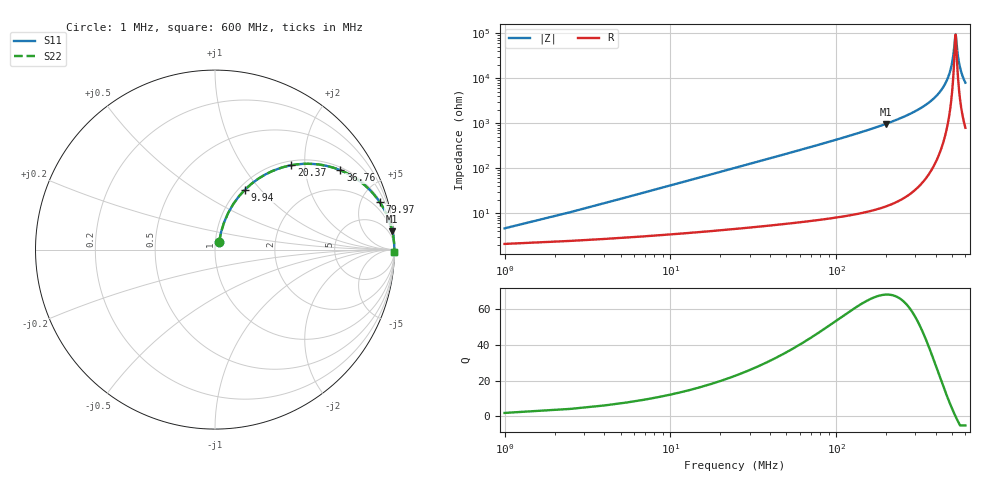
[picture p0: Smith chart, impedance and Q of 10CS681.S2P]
! Coilcraft 1008CS-681 Chip Inductor
! 02 July 2002
# MHZ S MA R 50
!Freq  MagS11  AngS11  MagS21  AngS21  MagS12  AngS12  MagS22  AngS22
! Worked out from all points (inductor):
!   404 points, 1 MHz to 600 MHz, reference 50 ohm
!   read as one part in series: L = 665 nH near 3.98 MHz
!   highest Q = 67.9 at 199.2 MHz (marker M1), where L = 778 nH
!   self-resonance near 522.5 MHz
!   S11 on the Smith chart (normalised r, x): 1 MHz: 1.04, +0.08; 9.94 MHz: 1.07, +0.83; 20.37 MHz: 1.09, +1.70; 36.76 MHz: 1.10, +3.09; 79.97 MHz: 1.14, +6.84; 600 MHz: open
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1  0.0458 60.9  0.9785 -2.3  0.9785 -2.3  0.0458 60.9
5.47  0.2186 70.2  0.9485 -12.5  0.9485 -12.5  0.2186 70.2
9.94  0.374 63.4  0.8972 -21.9  0.8972 -21.9  0.374 63.4
20.37  0.6337 47.9  0.7425 -39.3  0.7425 -39.3  0.6337 47.9
36.76  0.8267 32.3  0.5353 -55.7  0.5353 -55.7  0.8267 32.3
54.64  0.9089 23.2  0.3936 -65.3  0.3936 -65.3  0.9089 23.2
79.97  0.9544 16.2  0.2789 -72.6  0.2789 -72.6  0.9544 16.2
102.32  0.9718 12.6  0.2186 -76.3  0.2186 -76.3  0.9718 12.6
199.17  0.9933 5.9  0.1021 -83.3  0.1021 -83.3  0.9933 5.9
202.15  0.9935 5.7  0.1001 -83.4  0.1001 -83.4  0.9935 5.7
301.98  0.9976 3.0  0.05276 -85.9  0.05276 -85.9  0.9976 3.0
401.81  0.9988 1.4  0.02446 -86.5  0.02446 -86.5  0.9988 1.4
464.39  0.999 0.6  0.01102 -84.4  0.01102 -84.4  0.999 0.6
485.25  0.999 0.4  0.007013 -81.5  0.007013 -81.5  0.999 0.4
501.64  0.999 0.2  0.004035 -75.1  0.004035 -75.1  0.999 0.2
510.58  0.999 0.1  0.002514 -65.5  0.002514 -65.5  0.999 0.1
519.52  0.9989 0.0  0.001269 -33.7  0.001269 -33.7  0.9989 0.0
523.99  0.9989 -0.0  0.001068 4.1  0.001068 4.1  0.9989 -0.0
540.38  0.9989 -0.2  0.003092 69.0  0.003092 69.0  0.9989 -0.2
552.3  0.9989 -0.3  0.005012 76.7  0.005012 76.7  0.9989 -0.3
573.16  0.9988 -0.5  0.008359 81.4  0.008359 81.4  0.9988 -0.5
600  0.9987 -0.7  0.01254 83.5  0.01254 83.5  0.9987 -0.7
